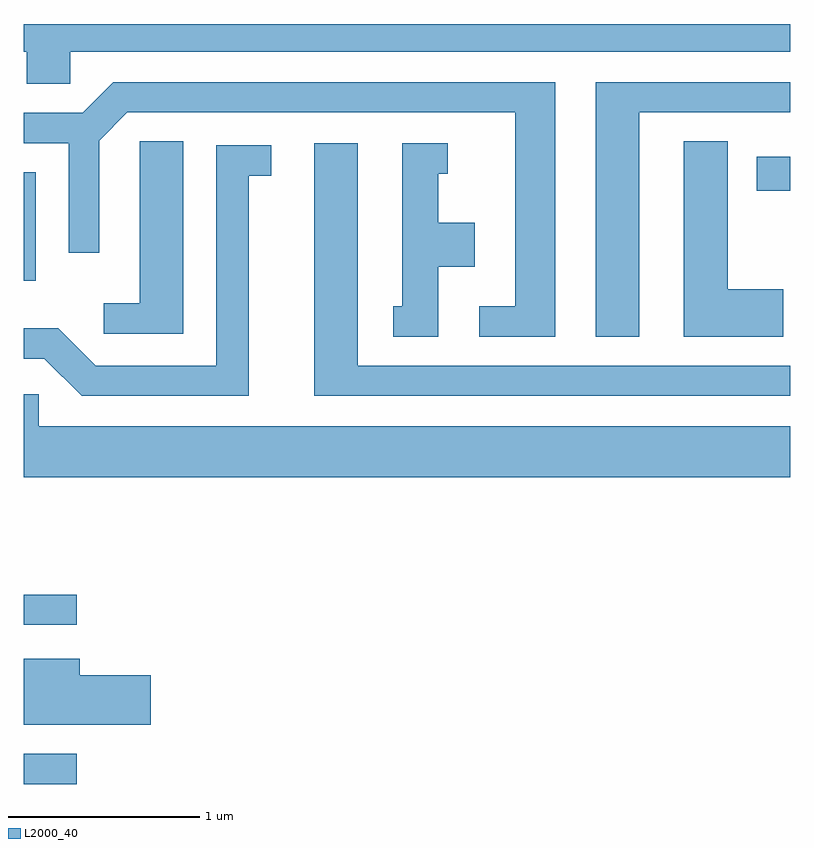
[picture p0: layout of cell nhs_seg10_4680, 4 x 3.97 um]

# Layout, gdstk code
import gdstk
lib = gdstk.Library(unit=1e-6, precision=1e-09)
def R(c, l, rs):  # rectangles x0, y0, x1, y1
    for r in rs: c.add(gdstk.rectangle(r[:2], r[2:], *l))
def P(c, l, *ps):  # polygons
    for p in ps: c.add(gdstk.Polygon(p, *l))
L2000_40 = (2000, 40)

nhs_seg10_4680 = lib.new_cell('nhs_seg10_4680')
R(nhs_seg10_4680, L2000_40, [(323.611,2094.556,323.888,2094.714), (323.611,2095.386,323.888,2095.544), (323.611,2097.181,323.674,2097.749), (327.436,2097.651,327.611,2097.829)])
P(nhs_seg10_4680, L2000_40, [(323.611,2098.376),(323.626,2098.376),(323.626,2098.211),(323.854,2098.211),(323.854,2098.376),(327.611,2098.376),(327.611,2098.522),(323.611,2098.522)],
  [(326.824,2098.061),(327.611,2098.061),(327.611,2098.219),(326.596,2098.219),(326.596,2096.891),(326.824,2096.891)],
  [(326.384,2098.219),(324.079,2098.219),(323.919,2098.059),(323.611,2098.059),(323.611,2097.901),(323.846,2097.901),(323.846,2097.328),(324.004,2097.328),(324.004,2097.914),(324.152,2098.061),(326.176,2098.061),(326.176,2097.049),(325.988,2097.049),(325.988,2096.891),(326.384,2096.891)],
  [(324.444,2097.909),(324.216,2097.909),(324.216,2097.064),(324.028,2097.064),(324.028,2096.906),(324.444,2096.906)],
  [(327.574,2097.139),(327.284,2097.139),(327.284,2097.909),(327.056,2097.909),(327.056,2096.891),(327.574,2096.891)],
  [(325.774,2097.256),(325.964,2097.256),(325.964,2097.484),(325.774,2097.484),(325.774,2097.741),(325.823,2097.741),(325.823,2097.899),(325.586,2097.899),(325.586,2097.049),(325.538,2097.049),(325.538,2096.891),(325.774,2096.891)],
  [(327.611,2096.739),(325.354,2096.739),(325.354,2097.899),(325.126,2097.899),(325.126,2096.581),(327.611,2096.581)],
  [(324.784,2097.731),(324.903,2097.731),(324.903,2097.889),(324.616,2097.889),(324.616,2096.739),(323.987,2096.739),(323.792,2096.934),(323.611,2096.934),(323.611,2096.776),(323.719,2096.776),(323.914,2096.581),(324.784,2096.581)],
  [(327.611,2096.424),(323.689,2096.424),(323.689,2096.589),(323.611,2096.589),(323.611,2096.156),(327.611,2096.156)],
  [(324.274,2095.124),(323.904,2095.124),(323.904,2095.209),(323.611,2095.209),(323.611,2094.866),(324.274,2094.866)])

lib.write_gds('nhs_seg10_4680.gds')
